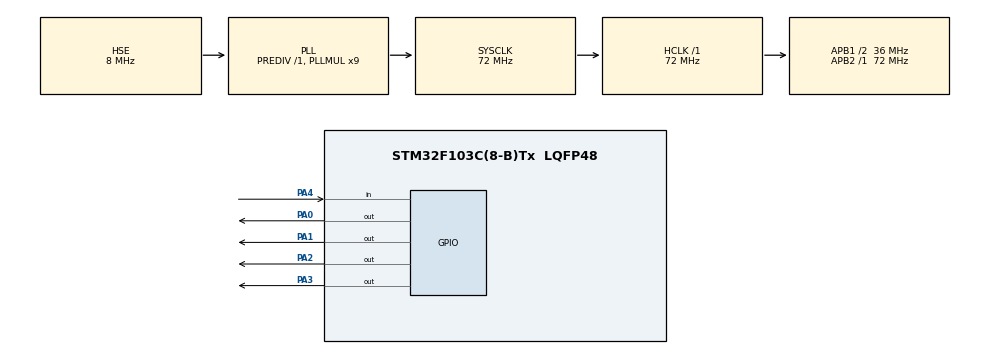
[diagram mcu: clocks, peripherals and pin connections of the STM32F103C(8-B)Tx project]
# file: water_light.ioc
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Mcu.Family=STM32F1
Mcu.Name=STM32F103C(8-B)Tx
Mcu.Package=LQFP48
NVIC.PriorityGroup=NVIC_PRIORITYGROUP_4
PA0-WKUP.Signal=GPIO_Output
PA1.Signal=GPIO_Output
PA13.Mode=Serial_Wire
PA13.Signal=SYS_JTMS-SWDIO
PA14.Mode=Serial_Wire
PA14.Signal=SYS_JTCK-SWCLK
PA2.Signal=GPIO_Output
PA3.Signal=GPIO_Output
PA4.GPIO_PuPd=GPIO_PULLUP
PA4.Signal=GPIO_Input
PD0-OSC_IN.Mode=HSE-External-Oscillator
PD0-OSC_IN.Signal=RCC_OSC_IN
PD1-OSC_OUT.Mode=HSE-External-Oscillator
PD1-OSC_OUT.Signal=RCC_OSC_OUT
ProjectManager.HeapSize=0x200
ProjectManager.StackSize=0x400
ProjectManager.TargetToolchain=CMake
RCC.AHBFreq_Value=72000000
RCC.APB1CLKDivider=RCC_HCLK_DIV2
RCC.APB1Freq_Value=36000000
RCC.APB1TimFreq_Value=72000000
RCC.APB2Freq_Value=72000000
RCC.APB2TimFreq_Value=72000000
RCC.HCLKFreq_Value=72000000
RCC.PLLMUL=RCC_PLL_MUL9
RCC.PLLSourceVirtual=RCC_PLLSOURCE_HSE
RCC.SYSCLKFreq_VALUE=72000000
RCC.SYSCLKSource=RCC_SYSCLKSOURCE_PLLCLK
RCC.USBFreq_Value=72000000
board=custom

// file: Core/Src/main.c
/* USER CODE BEGIN Header */
/* USER CODE END Header */
#include "main.h"

/* USER CODE BEGIN PD */

#define LED_GPIO_PORT       GPIOA
#define LED1_PIN            GPIO_PIN_0
#define LED2_PIN            GPIO_PIN_1
#define LED3_PIN            GPIO_PIN_2
#define LED4_PIN            GPIO_PIN_3
#define LED_ALL_PINS        (LED1_PIN | LED2_PIN | LED3_PIN | LED4_PIN)
#define LED_STEP_DELAY_MS   500U

#define BTN_GPIO_PORT       GPIOA
#define BTN_PIN             GPIO_PIN_4
#define BTN_DEBOUNCE_MS     20U
/* USER CODE END PD */

/* USER CODE BEGIN PV */

static const uint16_t led_pins[] = {LED1_PIN, LED2_PIN, LED3_PIN, LED4_PIN};
#define LED_COUNT           (sizeof(led_pins) / sizeof(led_pins[0]))

static uint8_t  s_led_index;
static int8_t   s_led_dir;
static uint32_t s_led_tick;

static GPIO_PinState s_btn_raw;
static GPIO_PinState s_btn_stable;
static uint32_t      s_btn_tick;
/* USER CODE END PV */

void SystemClock_Config(void);
static void MX_GPIO_Init(void);

int main(void)
{

  /* MCU Configuration--------------------------------------------------------*/

  /* Reset of all peripherals, Initializes the Flash interface and the Systick. */
  HAL_Init();

  /* Configure the system clock */
  SystemClock_Config();

  /* Initialize all configured peripherals */
  MX_GPIO_Init();
  /* USER CODE BEGIN 2 */

  HAL_GPIO_WritePin(LED_GPIO_PORT, LED_ALL_PINS, GPIO_PIN_SET);

  s_led_index = 0U;
  s_led_dir   = 1;
  s_led_tick  = HAL_GetTick();

  s_btn_raw    = HAL_GPIO_ReadPin(BTN_GPIO_PORT, BTN_PIN);
  s_btn_stable = s_btn_raw;
  s_btn_tick   = s_led_tick;

  HAL_GPIO_WritePin(LED_GPIO_PORT, led_pins[s_led_index], GPIO_PIN_RESET);
  /* USER CODE END 2 */

  /* Infinite loop */
  /* USER CODE BEGIN WHILE */
  while (1)
  {
    uint32_t now = HAL_GetTick();
    GPIO_PinState btn_now = HAL_GPIO_ReadPin(BTN_GPIO_PORT, BTN_PIN);

    if (btn_now != s_btn_raw)
    {
      s_btn_raw  = btn_now;
      s_btn_tick = now;
    }
    if (((now - s_btn_tick) >= BTN_DEBOUNCE_MS) && (btn_now != s_btn_stable))
    {
      s_btn_stable = btn_now;
      if (s_btn_stable == GPIO_PIN_RESET)
      {
        s_led_dir = -s_led_dir;
      }
    }

    if ((now - s_led_tick) >= LED_STEP_DELAY_MS)
    {
      s_led_tick = now;

      if (s_led_dir > 0)                   /* PA0 -> PA1 -> PA2 -> PA3 */
      {
        s_led_index++;
        if (s_led_index >= LED_COUNT)
        {
          s_led_index = 0U;
        }
      }
      else                                 /* PA3 -> PA2 -> PA1 -> PA0 */
      {
        if (s_led_index == 0U)
        {
          s_led_index = (uint8_t)(LED_COUNT - 1U);
        }
        else
        {
          s_led_index--;
        }
      }

      HAL_GPIO_WritePin(LED_GPIO_PORT, LED_ALL_PINS, GPIO_PIN_SET);
      HAL_GPIO_WritePin(LED_GPIO_PORT, led_pins[s_led_index], GPIO_PIN_RESET);
    }

    /* USER CODE END WHILE */

  }
}

void SystemClock_Config(void)
{
  RCC_OscInitTypeDef RCC_OscInitStruct = {0};
  RCC_ClkInitTypeDef RCC_ClkInitStruct = {0};

  /** Initializes the RCC Oscillators according to the specified parameters
  * in the RCC_OscInitTypeDef structure.
  */
  RCC_OscInitStruct.OscillatorType = RCC_OSCILLATORTYPE_HSE;
  RCC_OscInitStruct.HSEState = RCC_HSE_ON;
  RCC_OscInitStruct.HSEPredivValue = RCC_HSE_PREDIV_DIV1;
  RCC_OscInitStruct.HSIState = RCC_HSI_ON;
  RCC_OscInitStruct.PLL.PLLState = RCC_PLL_ON;
  RCC_OscInitStruct.PLL.PLLSource = RCC_PLLSOURCE_HSE;
  RCC_OscInitStruct.PLL.PLLMUL = RCC_PLL_MUL9;
  if (HAL_RCC_OscConfig(&RCC_OscInitStruct) != HAL_OK)
  {
    Error_Handler();
  }

  /** Initializes the CPU, AHB and APB buses clocks
  */
  RCC_ClkInitStruct.ClockType = RCC_CLOCKTYPE_HCLK|RCC_CLOCKTYPE_SYSCLK
                              |RCC_CLOCKTYPE_PCLK1|RCC_CLOCKTYPE_PCLK2;
  RCC_ClkInitStruct.SYSCLKSource = RCC_SYSCLKSOURCE_PLLCLK;
  RCC_ClkInitStruct.AHBCLKDivider = RCC_SYSCLK_DIV1;
  RCC_ClkInitStruct.APB1CLKDivider = RCC_HCLK_DIV2;
  RCC_ClkInitStruct.APB2CLKDivider = RCC_HCLK_DIV1;

  if (HAL_RCC_ClockConfig(&RCC_ClkInitStruct, FLASH_LATENCY_2) != HAL_OK)
  {
    Error_Handler();
  }
}

static void MX_GPIO_Init(void)
{
  GPIO_InitTypeDef GPIO_InitStruct = {0};

  /* GPIO Ports Clock Enable */
  __HAL_RCC_GPIOD_CLK_ENABLE();
  __HAL_RCC_GPIOA_CLK_ENABLE();

  /*Configure GPIO pin Output Level */
  HAL_GPIO_WritePin(GPIOA, GPIO_PIN_0|GPIO_PIN_1|GPIO_PIN_2|GPIO_PIN_3, GPIO_PIN_RESET);

  /*Configure GPIO pins : PA0 PA1 PA2 PA3 */
  GPIO_InitStruct.Pin = GPIO_PIN_0|GPIO_PIN_1|GPIO_PIN_2|GPIO_PIN_3;
  GPIO_InitStruct.Mode = GPIO_MODE_OUTPUT_PP;
  GPIO_InitStruct.Pull = GPIO_NOPULL;
  GPIO_InitStruct.Speed = GPIO_SPEED_FREQ_LOW;
  HAL_GPIO_Init(GPIOA, &GPIO_InitStruct);

  /*Configure GPIO pin : PA4 */
  GPIO_InitStruct.Pin = GPIO_PIN_4;
  GPIO_InitStruct.Mode = GPIO_MODE_INPUT;
  GPIO_InitStruct.Pull = GPIO_PULLUP;
  HAL_GPIO_Init(GPIOA, &GPIO_InitStruct);

}

void Error_Handler(void)
{
}
